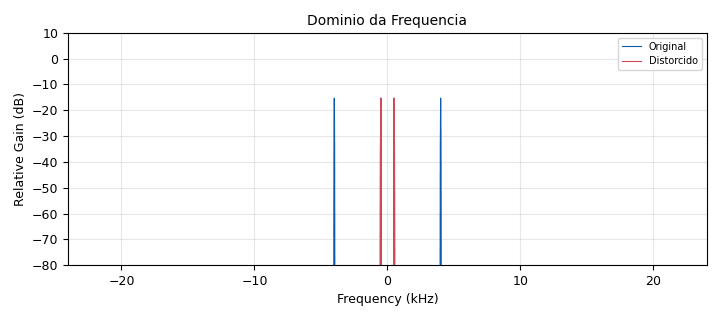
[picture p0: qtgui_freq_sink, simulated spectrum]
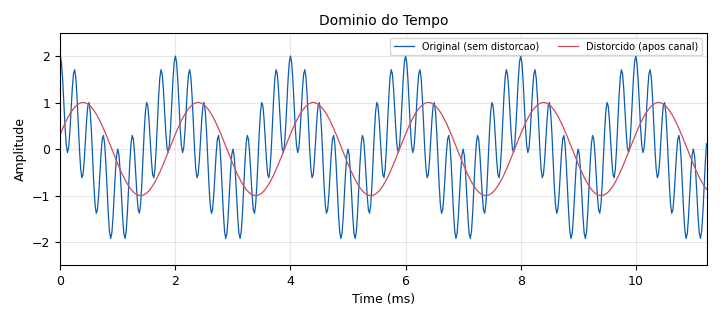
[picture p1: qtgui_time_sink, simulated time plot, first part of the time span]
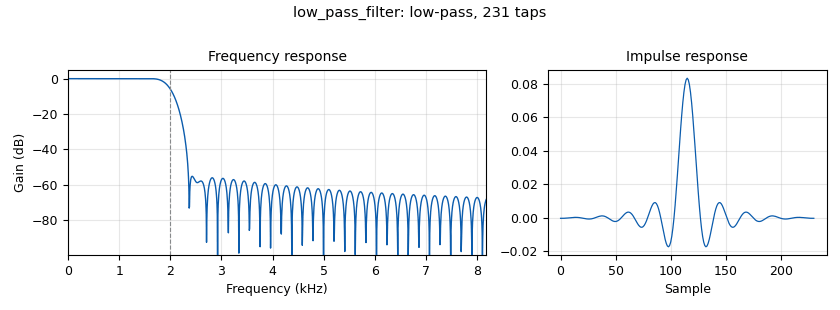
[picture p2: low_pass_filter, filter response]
options:
  parameters:
    author: Curso PriCom - UnB
    comment: |-
      Exemplo 01 - Distorcao de Amplitude

      Um sinal composto por duas senoides (500 Hz e 4000 Hz)
      passa por um filtro passa-baixa (canal com distorcao de amplitude).
      O filtro atenua a componente de 4000 Hz, alterando a forma de onda.

      Compare o sinal original (azul) com o sinal distorcido (vermelho)
      no dominio do tempo e da frequencia.
    description: Exemplo 01 - Distorcao de Amplitude em Canal LTI
    generate_options: qt_gui
    id: exemplo_01_distorcao_amplitude
    output_language: python
    title: Exemplo 01 - Distorcao de Amplitude
  states: {}

blocks:
- name: cutoff
  id: variable
  parameters:
    comment: Frequencia de corte do filtro passa-baixa (canal)
    value: '2000'
  states: {}
- name: freq1
  id: variable
  parameters:
    comment: Frequencia da primeira senoide (passa pelo filtro)
    value: '500'
  states: {}
- name: freq2
  id: variable
  parameters:
    comment: Frequencia da segunda senoide (atenuada pelo filtro)
    value: '4000'
  states: {}
- name: samp_rate
  id: variable
  parameters:
    comment: Taxa de amostragem do sistema
    value: '48000'
  states: {}
- name: blocks_add
  id: blocks_add_xx
  parameters:
    comment: Soma das duas senoides
    type: float
  states: {}
- name: blocks_throttle
  id: blocks_throttle2
  parameters:
    samples_per_second: samp_rate
    type: float
  states: {}
- name: cos1
  id: analog_sig_source_x
  parameters:
    amp: '1'
    comment: Cosseno em freq1 = 500 Hz
    freq: freq1
    offset: '0'
    phase: '0'
    samp_rate: samp_rate
    type: float
    waveform: analog.GR_COS_WAVE
  states: {}
- name: cos2
  id: analog_sig_source_x
  parameters:
    amp: '1'
    comment: Cosseno em freq2 = 4000 Hz
    freq: freq2
    offset: '0'
    phase: '0'
    samp_rate: samp_rate
    type: float
    waveform: analog.GR_COS_WAVE
  states: {}
- name: low_pass_filter
  id: low_pass_filter
  parameters:
    comment: |-
      Canal com distorcao de amplitude:
      |H(w)| NAO e constante
    cutoff_freq: cutoff
    decim: '1'
    gain: '1'
    samp_rate: samp_rate
    type: fir_filter_fff
    width: '500'
    win: window.WIN_HAMMING
  states: {}
- name: note_info
  id: note
  parameters:
    comment: 'DISTORCAO DE AMPLITUDE: cos(500Hz) + cos(4000Hz) passa por LPF (fc=2kHz). O filtro atenua a componente de 4kHz, violando |H(w)|=K. Azul=original, Vermelho=distorcido. Compare tempo e frequencia.'
    note: Distorcao de Amplitude
  states: {}
- name: qtgui_freq_sink
  id: qtgui_freq_sink_x
  parameters:
    bw: samp_rate
    comment: |-
      Compare os espectros:
      A componente em 4000 Hz e atenuada pelo canal
    fc: '0'
    fftsize: '4096'
    grid: 'True'
    gui_hint: 1,0,1,1
    label1: Original
    label2: Distorcido
    name: '"Dominio da Frequencia"'
    nconnections: '2'
    type: float
    width1: '2'
    width2: '2'
    ymin: '-80'
  states: {}
- name: qtgui_time_sink
  id: qtgui_time_sink_x
  parameters:
    comment: 'Compare as formas de onda: original vs distorcida'
    grid: 'True'
    gui_hint: 0,0,1,1
    label1: Original (sem distorcao)
    label2: Distorcido (apos canal)
    name: '"Dominio do Tempo"'
    nconnections: '2'
    size: '2048'
    srate: samp_rate
    type: float
    width1: '2'
    width2: '2'
    ymax: '2.5'
    ymin: '-2.5'
  states: {}

connections:
- [blocks_add, '0', blocks_throttle, '0']
- [blocks_throttle, '0', low_pass_filter, '0']
- [blocks_throttle, '0', qtgui_freq_sink, '0']
- [blocks_throttle, '0', qtgui_time_sink, '0']
- [cos1, '0', blocks_add, '0']
- [cos2, '0', blocks_add, '1']
- [low_pass_filter, '0', qtgui_freq_sink, '1']
- [low_pass_filter, '0', qtgui_time_sink, '1']

metadata:
  file_format: 1
  grc_version: 3.10.12.0
